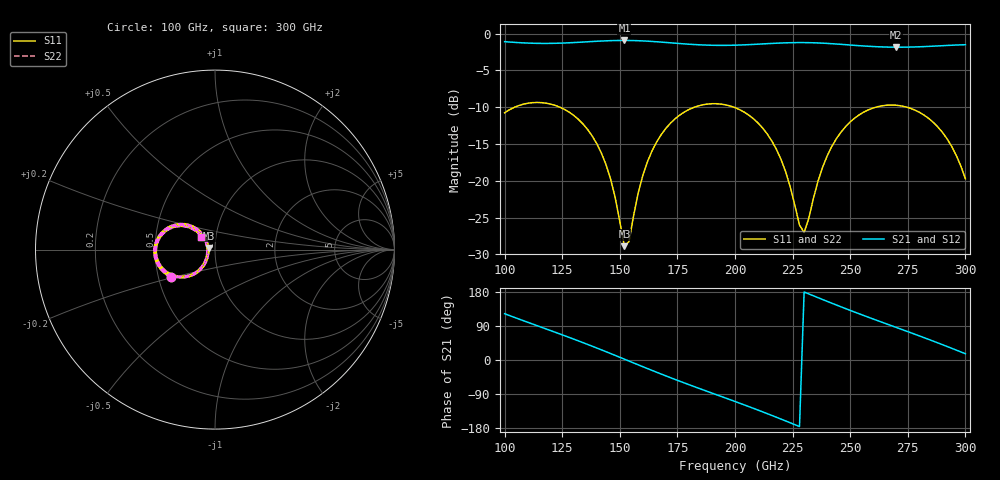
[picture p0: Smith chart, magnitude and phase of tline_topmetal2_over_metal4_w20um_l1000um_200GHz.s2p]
#  GHZ S DB R 50
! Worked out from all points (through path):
!   101 points, 100 GHz to 300 GHz, reference 50 ohm
!   highest |S21| = -0.92 dB at 152 GHz (marker M1); lowest = -1.8 dB at 270 GHz (marker M2)
!   group delay of S21, straight-line fit = 6.5 ps
!   lowest |S11| = -28.9 dB at 152 GHz (marker M3), VSWR 1.07, Z = 46.6 + j0.832 ohm
!   |S11| at or under -10 dB: 124 GHz to 182.4 GHz (58.32 GHz wide, 38.1 % of centre); 199.5 GHz to 261.1 GHz (61.63 GHz wide, 26.8 % of centre); 274.6 GHz to end of sweep (the widest 3 of 4)
!   |S22| runs from -28.7 to -9.3 dB; largest |S21 - S12| = 1.5e-13
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100  -10.75 -148.1  -1.09 122.1  -1.09 122.1  -10.75 -147.9
118  -9.45 175.1  -1.33 82.0  -1.33 82.0  -9.44 175.4
134  -12.27 143.4  -1.14 45.9  -1.14 45.9  -12.26 143.7
144  -17.79 127.9  -0.98 21.9  -0.98 21.9  -17.76 128.5
148  -22.27 129.6  -0.94 12.1  -0.94 12.1  -22.22 130.3
152  -28.88 165.7  -0.92 2.2  -0.92 2.2  -28.68 166.2
154  -28.26 -153.2  -0.93 -2.8  -0.93 -2.8  -28.08 -153.6
160  -19.26 -123.4  -0.99 -17.7  -0.99 -17.7  -19.23 -123.7
168  -13.71 -133.1  -1.15 -37.1  -1.15 -37.1  -13.70 -133.1
184  -9.83 -163.8  -1.51 -74.0  -1.51 -74.0  -9.82 -163.7
200  -10.05 165.0  -1.57 -109.5  -1.57 -109.5  -10.05 165.2
216  -14.59 136.6  -1.33 -146.3  -1.33 -146.3  -14.59 137.0
222  -18.78 132.0  -1.25 -160.8  -1.25 -160.8  -18.77 132.5
230  -27.02 -172.7  -1.22 179.4  -1.22 179.4  -26.85 -172.4
234  -22.43 -134.2  -1.24 169.5  -1.24 169.5  -22.36 -134.4
240  -16.62 -129.5  -1.33 154.8  -1.33 154.8  -16.60 -129.6
248  -12.64 -140.6  -1.50 135.6  -1.50 135.6  -12.62 -140.6
258  -10.34 -158.9  -1.72 112.6  -1.72 112.6  -10.33 -158.8
268  -9.70 -177.8  -1.83 90.3  -1.83 90.3  -9.70 -177.6
270  -9.73 178.4  -1.84 85.9  -1.84 85.9  -9.72 178.7
288  -12.66 146.0  -1.67 45.3  -1.67 45.3  -12.66 146.4
300  -19.71 137.6  -1.51 16.5  -1.51 16.5  -19.68 138.2
